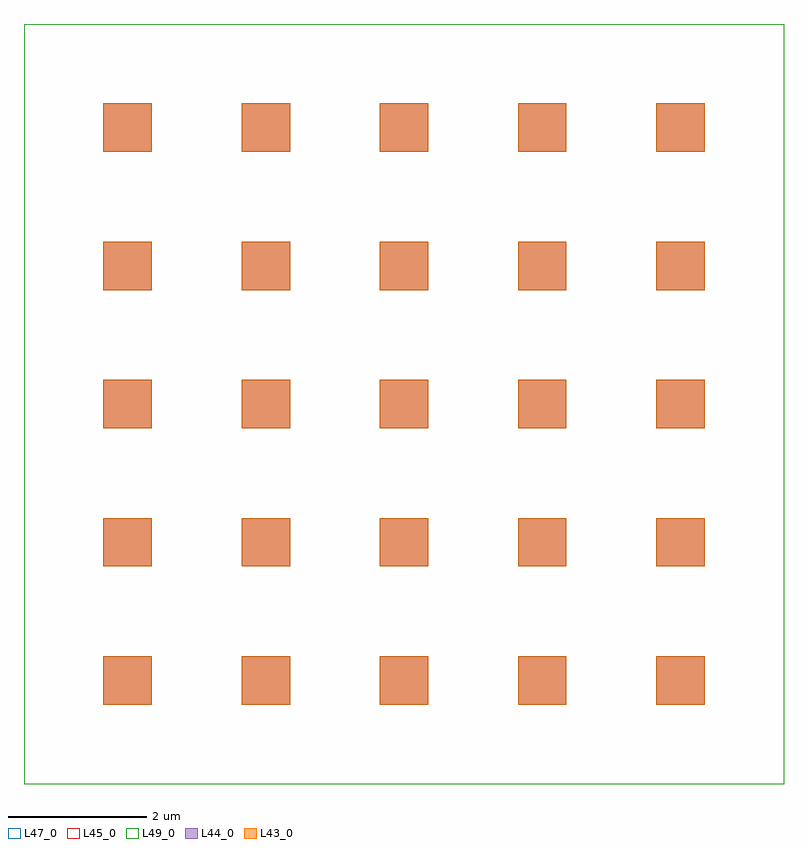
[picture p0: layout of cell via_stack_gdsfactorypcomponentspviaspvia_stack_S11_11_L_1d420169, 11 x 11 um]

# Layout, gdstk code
import gdstk
lib = gdstk.Library(unit=1e-6, precision=1e-09)
def R(c, l, rs):  # rectangles x0, y0, x1, y1
    for r in rs: c.add(gdstk.rectangle(r[:2], r[2:], *l))
L43_0 = (43, 0)
L44_0 = (44, 0)
L45_0 = (45, 0)
L47_0 = (47, 0)
L49_0 = (49, 0)

compass_gdsfactorypcompo = lib.new_cell('compass_gdsfactorypcomponentspshapespcompass_S11_11_LHE_3406ca65')
R(compass_gdsfactorypcompo, L47_0, [(-5.5,-5.5,5.5,5.5)])

c_compass_gdsfactorypcompo = lib.new_cell('compass_gdsfactorypcomponentspshapespcompass_S11_11_LM2_786eb8ce')
R(c_compass_gdsfactorypcompo, L45_0, [(-5.5,-5.5,5.5,5.5)])

c_compass_gdsfactorypcompo_ = lib.new_cell('compass_gdsfactorypcomponentspshapespcompass_S11_11_LM3_4637d102')
R(c_compass_gdsfactorypcompo_, L49_0, [(-5.5,-5.5,5.5,5.5)])

via_gdsfactorypcomponent = lib.new_cell('via_gdsfactorypcomponentspviaspvia_S0p7_0p7_E1_LVIA1_BL_0068d91e')
R(via_gdsfactorypcomponent, L44_0, [(-0.35,-0.35,0.35,0.35)])

c_via_gdsfactorypcomponent = lib.new_cell('via_gdsfactorypcomponentspviaspvia_S0p7_0p7_E1_LVIA2_BL_c51b5ebb')
R(c_via_gdsfactorypcomponent, L43_0, [(-0.35,-0.35,0.35,0.35)])

via_stack_gdsfactorypcom = lib.new_cell('via_stack_gdsfactorypcomponentspviaspvia_stack_S11_11_L_1d420169')
via_stack_gdsfactorypcom.add(gdstk.Reference(compass_gdsfactorypcompo, (0,0)))
via_stack_gdsfactorypcom.add(gdstk.Reference(c_compass_gdsfactorypcompo, (0,0)))
via_stack_gdsfactorypcom.add(gdstk.Reference(c_compass_gdsfactorypcompo_, (0,0)))
r = gdstk.Reference(via_gdsfactorypcomponent, (-4,-4)); r.repetition = gdstk.Repetition(5, 5, v1=(2,0), v2=(0,2)); via_stack_gdsfactorypcom.add(r)
r = gdstk.Reference(c_via_gdsfactorypcomponent, (-4,-4)); r.repetition = gdstk.Repetition(5, 5, v1=(2,0), v2=(0,2)); via_stack_gdsfactorypcom.add(r)

lib.write_gds('via_stack_gdsfactorypcomponentspviaspvia_stack_S11_11_L_1d420169.gds')
